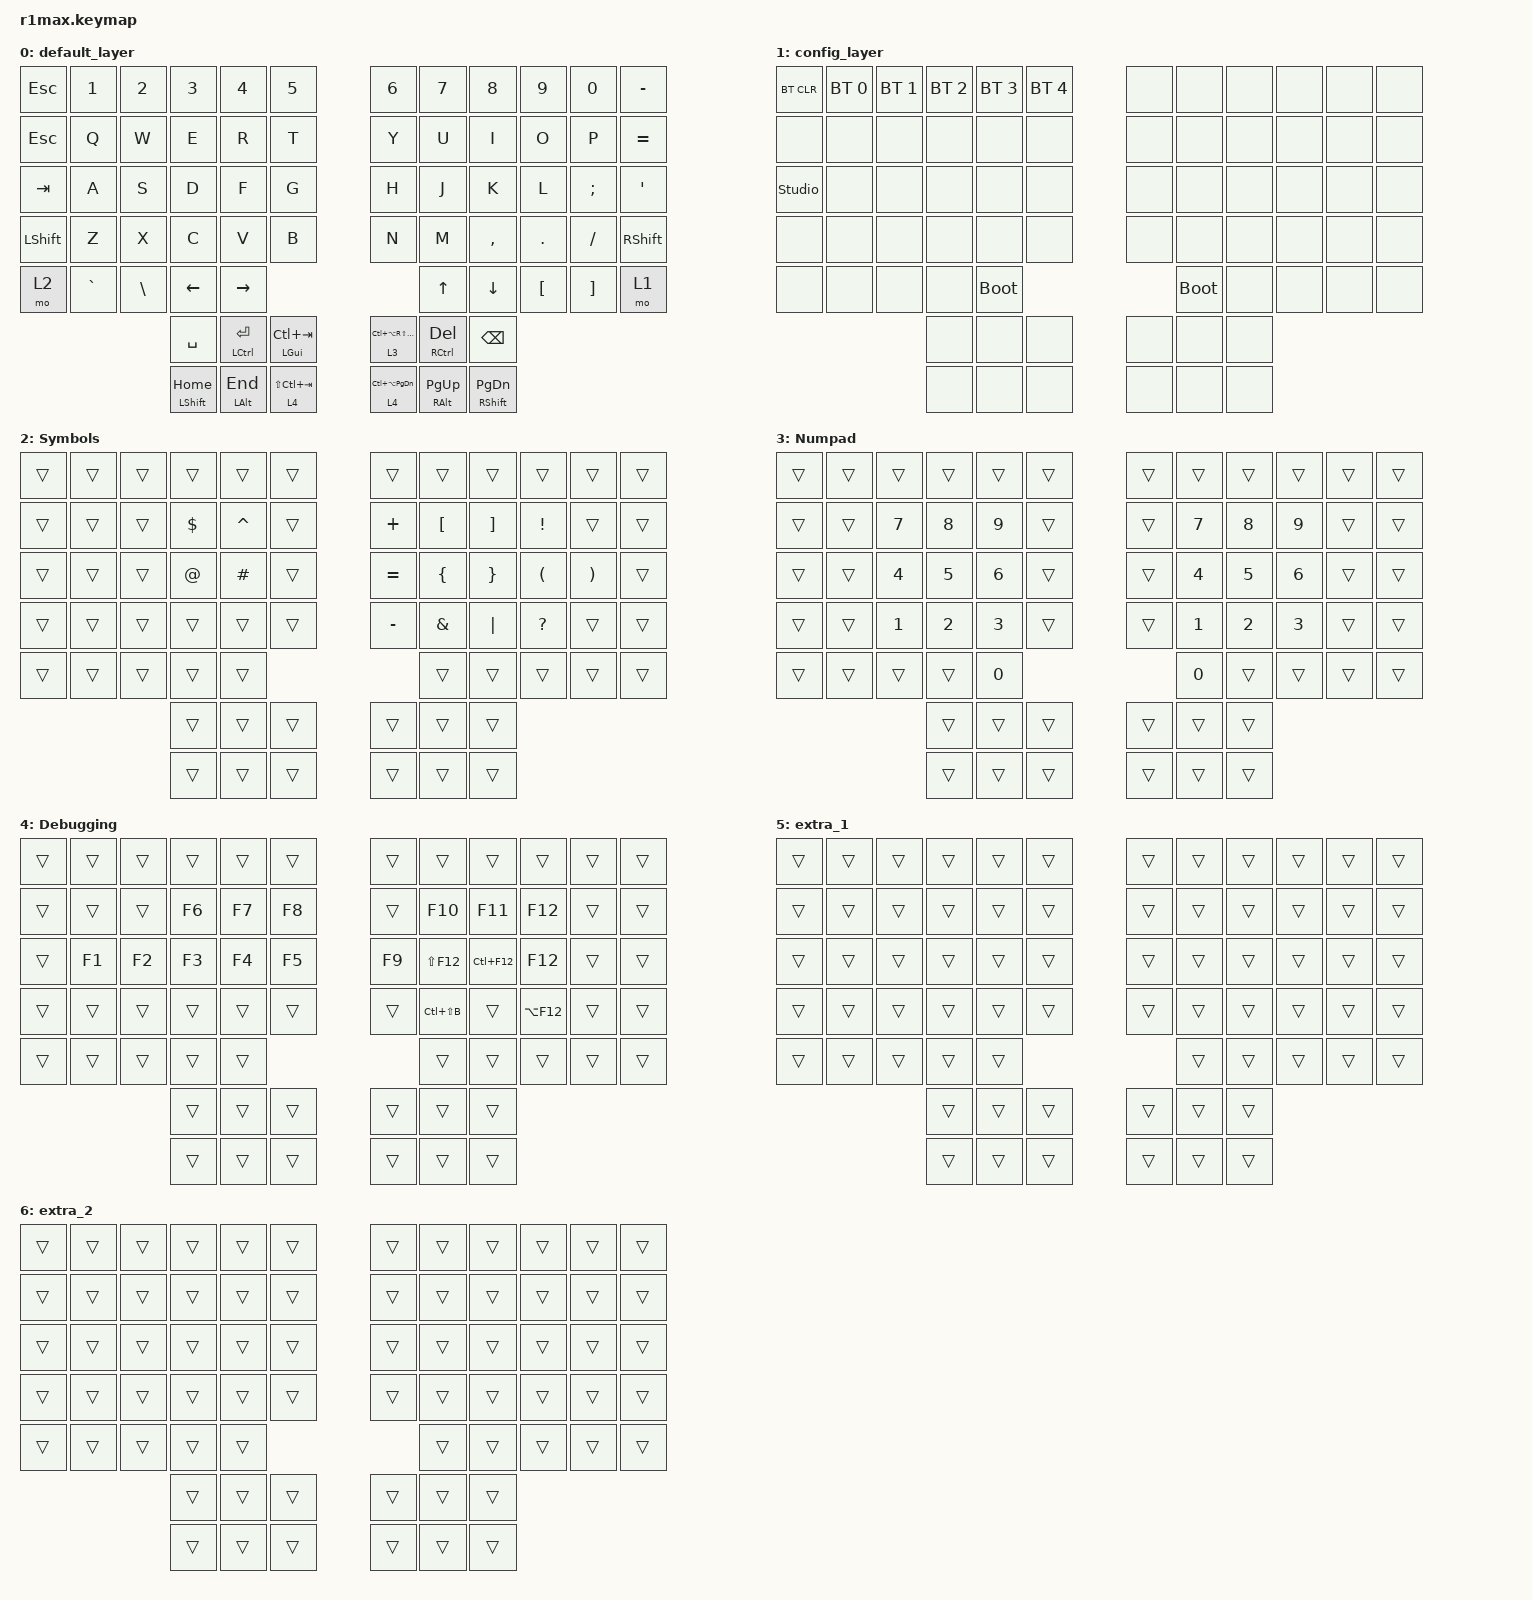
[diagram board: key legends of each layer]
#include <behaviors.dtsi>
#include <dt-bindings/zmk/bt.h>
#include <dt-bindings/zmk/keys.h>

#define L_CFG 1

/ {
    behaviors {
        THUMB_MOD_TAP: THUMB_MOD_TAP {
            compatible = "zmk,behavior-hold-tap";
            label = "THUMB_MOD_TAP";
            bindings = <&kp>, <&kp>;

            #binding-cells = <2>;
            tapping-term-ms = <250>;
        };

        THUMB_LAYER_TAP: THUMB_LAYER_TAP {
            compatible = "zmk,behavior-hold-tap";
            label = "THUMB_LAYER_TAP";
            bindings = <&mo>, <&kp>;

            #binding-cells = <2>;
            tapping-term-ms = <250>;
        };

        HR_MOD: HR_MOD {
            compatible = "zmk,behavior-hold-tap";
            label = "HR_MOD";
            bindings = <&kp>, <&kp>;

            #binding-cells = <2>;
            tapping-term-ms = <280>;
            quick-tap-ms = <175>;
            require-prior-idle-ms = <150>;
            flavor = "balanced";
            hold-trigger-on-release;
        };

        HR_LAYER: HR_LAYER {
            compatible = "zmk,behavior-hold-tap";
            label = "HR_LAYER";
            bindings = <&mo>, <&kp>;

            #binding-cells = <2>;
            tapping-term-ms = <280>;
            quick-tap-ms = <175>;
            require-prior-idle-ms = <150>;
            flavor = "balanced";
            hold-trigger-on-release;
        };
    };

    keymap {
        compatible = "zmk,keymap";

        default_layer {
            bindings = <
&kp ESC    &kp N1     &kp N2    &kp N3                          &kp N4                              &kp N5                             &kp N6                                  &kp N7                               &kp N8                                &kp N9    &kp N0    &kp MINUS
&kp ESC    &kp Q      &kp W     &kp E                           &kp R                               &kp T                              &kp Y                                   &kp U                                &kp I                                 &kp O     &kp P     &kp EQUAL
&kp TAB    &kp A      &kp S     &kp D                           &kp F                               &kp G                              &kp H                                   &kp J                                &kp K                                 &kp L     &kp SEMI  &kp SQT
&kp LSHFT  &kp Z      &kp X     &kp C                           &kp V                               &kp B                              &kp N                                   &kp M                                &kp COMMA                             &kp DOT   &kp FSLH  &kp RSHFT
&mo 2      &kp GRAVE  &kp BSLH  &kp LEFT                        &kp RIGHT                                                                                                      &kp UP                               &kp DOWN                              &kp LBKT  &kp RBKT  &mo 1
                                &kp SPACE                       &THUMB_MOD_TAP LEFT_CONTROL RETURN  &THUMB_MOD_TAP LEFT_GUI LC(TAB)    &THUMB_LAYER_TAP 3 LC(LA(RS(PAGE_UP)))  &THUMB_MOD_TAP RIGHT_CONTROL DELETE  &kp BSPC
                                &THUMB_MOD_TAP LEFT_SHIFT HOME  &THUMB_MOD_TAP LEFT_ALT END         &THUMB_LAYER_TAP 4 LS(LC(TAB))     &THUMB_LAYER_TAP 4 LC(LA(PAGE_DOWN))    &THUMB_MOD_TAP RIGHT_ALT PAGE_UP     &THUMB_MOD_TAP RIGHT_SHIFT PAGE_DOWN
            >;
        };

        config_layer {
            bindings = <
&bt BT_CLR      &bt BT_SEL 0  &bt BT_SEL 1  &bt BT_SEL 2  &bt BT_SEL 3  &bt BT_SEL 4    &none  &none        &none  &none  &none  &none
&none           &none         &none         &none         &none         &none           &none  &none        &none  &none  &none  &none
&studio_unlock  &none         &none         &none         &none         &none           &none  &none        &none  &none  &none  &none
&none           &none         &none         &none         &none         &none           &none  &none        &none  &none  &none  &none
&none           &none         &none         &none         &bootloader                          &bootloader  &none  &none  &none  &none
                                            &none         &none         &none           &none  &none        &none
                                            &none         &none         &none           &none  &none        &none
            >;
        };

        Symbols {
            bindings = <
&trans  &trans  &trans  &trans       &trans     &trans    &trans     &trans          &trans           &trans                &trans                 &trans
&trans  &trans  &trans  &kp DOLLAR   &kp CARET  &trans    &kp PLUS   &kp LBKT        &kp RBKT         &kp EXCL              &trans                 &trans
&trans  &trans  &trans  &kp AT_SIGN  &kp HASH   &trans    &kp EQUAL  &kp LEFT_BRACE  &kp RIGHT_BRACE  &kp LEFT_PARENTHESIS  &kp RIGHT_PARENTHESIS  &trans
&trans  &trans  &trans  &trans       &trans     &trans    &kp MINUS  &kp AMPERSAND   &kp PIPE         &kp QUESTION          &trans                 &trans
&trans  &trans  &trans  &trans       &trans                          &trans          &trans           &trans                &trans                 &trans
                        &trans       &trans     &trans    &trans     &trans          &trans
                        &trans       &trans     &trans    &trans     &trans          &trans
            >;
        };

        Numpad {
            bindings = <
&trans  &trans  &trans  &trans  &trans  &trans    &trans  &trans  &trans  &trans  &trans  &trans
&trans  &trans  &kp N7  &kp N8  &kp N9  &trans    &trans  &kp N7  &kp N8  &kp N9  &trans  &trans
&trans  &trans  &kp N4  &kp N5  &kp N6  &trans    &trans  &kp N4  &kp N5  &kp N6  &trans  &trans
&trans  &trans  &kp N1  &kp N2  &kp N3  &trans    &trans  &kp N1  &kp N2  &kp N3  &trans  &trans
&trans  &trans  &trans  &trans  &kp N0                    &kp N0  &trans  &trans  &trans  &trans
                        &trans  &trans  &trans    &trans  &trans  &trans
                        &trans  &trans  &trans    &trans  &trans  &trans
            >;
        };

        Debugging {
            bindings = <
&trans  &trans  &trans  &trans  &trans  &trans    &trans  &trans         &trans       &trans       &trans  &trans
&trans  &trans  &trans  &kp F6  &kp F7  &kp F8    &trans  &kp F10        &kp F11      &kp F12      &trans  &trans
&trans  &kp F1  &kp F2  &kp F3  &kp F4  &kp F5    &kp F9  &kp LS(F12)    &kp LC(F12)  &kp F12      &trans  &trans
&trans  &trans  &trans  &trans  &trans  &trans    &trans  &kp LC(LS(B))  &trans       &kp LA(F12)  &trans  &trans
&trans  &trans  &trans  &trans  &trans                    &trans         &trans       &trans       &trans  &trans
                        &trans  &trans  &trans    &trans  &trans         &trans
                        &trans  &trans  &trans    &trans  &trans         &trans
            >;
        };

        extra_1 {
            bindings = <
&trans  &trans  &trans  &trans  &trans  &trans    &trans  &trans  &trans  &trans  &trans  &trans
&trans  &trans  &trans  &trans  &trans  &trans    &trans  &trans  &trans  &trans  &trans  &trans
&trans  &trans  &trans  &trans  &trans  &trans    &trans  &trans  &trans  &trans  &trans  &trans
&trans  &trans  &trans  &trans  &trans  &trans    &trans  &trans  &trans  &trans  &trans  &trans
&trans  &trans  &trans  &trans  &trans                    &trans  &trans  &trans  &trans  &trans
                        &trans  &trans  &trans    &trans  &trans  &trans
                        &trans  &trans  &trans    &trans  &trans  &trans
            >;
        };

        extra_2 {
            bindings = <
&trans  &trans  &trans  &trans  &trans  &trans    &trans  &trans  &trans  &trans  &trans  &trans
&trans  &trans  &trans  &trans  &trans  &trans    &trans  &trans  &trans  &trans  &trans  &trans
&trans  &trans  &trans  &trans  &trans  &trans    &trans  &trans  &trans  &trans  &trans  &trans
&trans  &trans  &trans  &trans  &trans  &trans    &trans  &trans  &trans  &trans  &trans  &trans
&trans  &trans  &trans  &trans  &trans                    &trans  &trans  &trans  &trans  &trans
                        &trans  &trans  &trans    &trans  &trans  &trans
                        &trans  &trans  &trans    &trans  &trans  &trans
            >;
        };
    };
};
